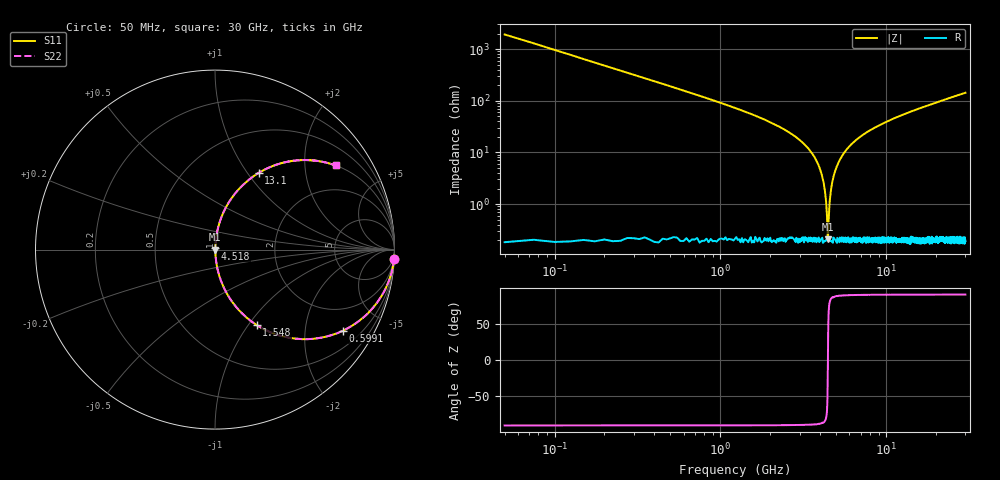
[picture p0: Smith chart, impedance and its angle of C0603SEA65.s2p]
!	AVX Thin Film Operation 	Date: April 2014
!	Description: Accu-P® Series, Thin Film  SMD RF Capacitor
!	Part Number: 06031JA65PBSTR
# MHZ S MA R 50
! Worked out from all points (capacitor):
!   1201 points, 50 MHz to 30 GHz, reference 50 ohm
!   read as one part in series: C = 1.65 pF near 199.8 MHz
!   lowest |Z| = 208 mohm at 4.443 GHz (marker M1)
!   series resonance near 4.448 GHz, so ESL is about 780 pH
!   S11 on the Smith chart (normalised r, x): 50 MHz: 1, -39; 599.1 MHz: 1.00, -3.16; 1.548 GHz: 1.00, -1.10; 4.518 GHz: 1.00, +0.01; 13.1 GHz: 1.00, +1.13; 30 GHz: 1.00, +2.86
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50  0.999 -3.0  0.052 87.0  0.052 87.0  0.999 -3.0
299.583  0.954 -17.3  0.298 72.6  0.298 72.6  0.954 -17.3
599.083  0.845 -32.3  0.534 57.6  0.534 57.6  0.845 -32.3
973.458  0.685 -46.6  0.727 43.3  0.727 43.3  0.685 -46.6
1547.5  0.48 -61.1  0.876 28.7  0.876 28.7  0.48 -61.1
2895.25  0.188 -78.5  0.98 10.8  0.98 10.8  0.188 -78.5
3668.958  0.084 -83.8  0.994 4.8  0.994 4.8  0.084 -83.8
4093.25  0.036 -84.7  0.997 2.1  0.997 2.1  0.036 -84.7
4218.042  0.023 -83.6  0.998 1.3  0.998 1.3  0.023 -83.6
4342.833  0.011 -78.3  0.998 0.6  0.998 0.6  0.011 -78.3
4442.667  0.002088 -13.9  0.998 0.0  0.998 0.0  0.002088 -13.9
4517.542  0.007031 72.9  0.998 -0.4  0.998 -0.4  0.007031 72.9
4742.167  0.028 84.2  0.998 -1.6  0.998 -1.6  0.028 84.2
5041.667  0.054 84.8  0.997 -3.1  0.997 -3.1  0.054 84.8
5690.583  0.107 82.8  0.992 -6.1  0.992 -6.1  0.107 82.8
6663.958  0.177 79.2  0.982 -10.2  0.982 -10.2  0.177 79.2
10058.29  0.366 68.2  0.929 -21.5  0.929 -21.5  0.366 68.2
13103.21  0.491 60.4  0.869 -29.4  0.869 -29.4  0.491 60.4
15025  0.555 56.1  0.83 -33.7  0.83 -33.7  0.555 56.1
20016.67  0.679 47.1  0.732 -42.8  0.732 -42.8  0.679 47.1
25033.29  0.763 40.2  0.645 -49.7  0.645 -49.7  0.763 40.2
30000  0.819 34.9  0.573 -55.0  0.573 -55.0  0.819 34.9
